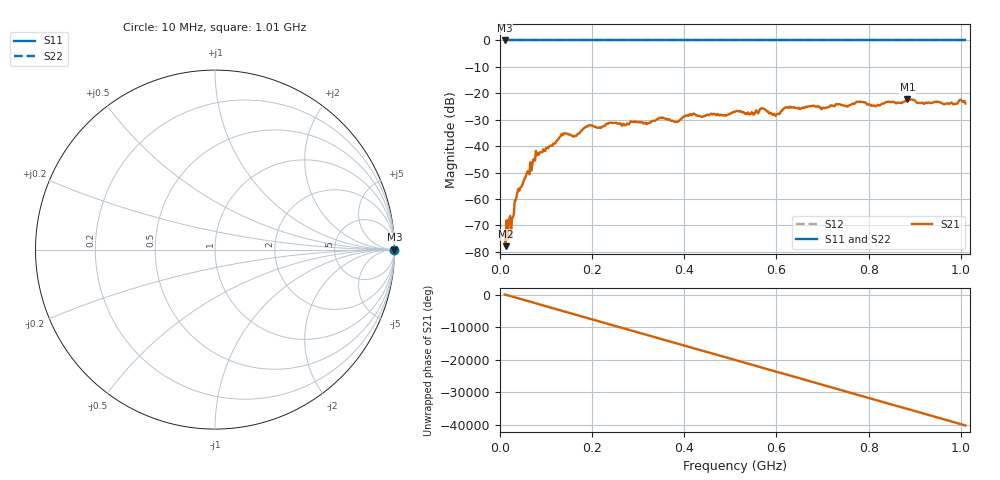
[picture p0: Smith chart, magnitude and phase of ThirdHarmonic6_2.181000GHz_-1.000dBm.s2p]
! 8/17/2025 2:00:58 AM
! C:\ANRITSUVNA\TEMP\TEMP.S2P
! CHANNEL.1
! TR.MEASUREMENT
! RAW.DATA
! RF.CORRECTION.OFF
! AVERAGING.OFF
! IF.BANDWIDTH: 5KHZ
! SWEEPTYPE:  FREQ.SWEEP(Linear)
! Reference Plane Port Info
! PORT:  PORT1  PORT2
! DISTANCE:  0  m  0  m
! TIME:  0  s  0  s
! PHASE.OFFSET:  0  deg.  0  deg.
! LOSS:  0  dB  0  dB
! REF.LOSS:  0  dB  0  dB
! REF.FREQ:  0  Hz  0  Hz
! Power Info
! POWER:  -20  dBm  -20  dBm
! EFF.POWER:  -20  dBm  -20  dBm
! SOURCE.ATTEN:  0  dB  0  dB
! TEST.ATTEN:  0  dB  0  dB
# GHZ S RI R 50.0
! FREQ.GHZ  S11RE  S11IM  S21RE  S21IM  S12RE  S12IM  S22RE  S22IM
!; PortSelection: Port_12
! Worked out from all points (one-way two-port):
!   501 points, 10 MHz to 1.01 GHz, reference 50 ohm
!   highest |S21| = -22.26 dB at 884 MHz (marker M1); lowest = -77.9 dB at 12 MHz (marker M2)
!   lowest |S11| = 0.0 dB at 10 MHz (marker M3)
!   |S11| at or under -10 dB: nowhere
!   |S22| runs from 0.0 to 0.0 dB; largest |S21 - S12| = 1.1
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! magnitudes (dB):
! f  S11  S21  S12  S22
! 10 MHz  0.0  -73.5  0.0  0.0
! 12 MHz  0.0  -77.9  0.0  0.0
! 18 MHz  0.0  -68.1  0.0  0.0
! 20 MHz  0.0  -67.8  0.0  0.0
! 28 MHz  0.0  -67.1  0.0  0.0
! 36 MHz  0.0  -58.9  0.0  0.0
! 82 MHz  0.0  -42.7  0.0  0.0
! 136 MHz  0.0  -35.9  0.0  0.0
! 162 MHz  0.0  -36.1  0.0  0.0
! 178 MHz  0.0  -34.0  0.0  0.0
! 344 MHz  0.0  -29.6  0.0  0.0
! 382 MHz  0.0  -30.9  0.0  0.0
! 416 MHz  0.0  -28.3  0.0  0.0
! 510 MHz  0.0  -27.0  0.0  0.0
! 546 MHz  0.0  -27.2  0.0  0.0
! 570 MHz  0.0  -25.8  0.0  0.0
! 596 MHz  0.0  -28.0  0.0  0.0
! 624 MHz  0.0  -25.4  0.0  0.0
! 678 MHz  0.0  -24.8  0.0  0.0
! 844 MHz  0.0  -23.2  0.0  0.0
! 884 MHz  0.0  -22.3  0.0  0.0
! 1.01 GHz  0.0  -23.9  0.0  0.0
